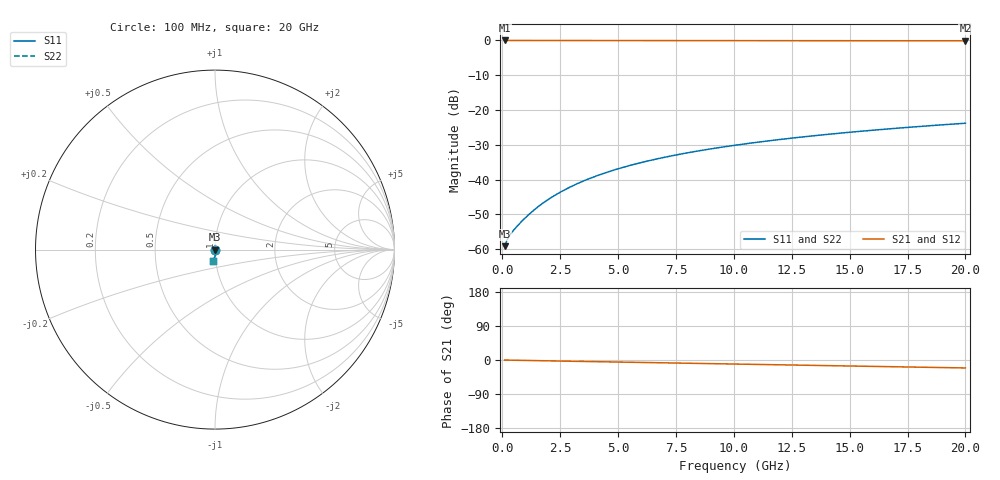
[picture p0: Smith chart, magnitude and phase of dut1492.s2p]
! Touchstone file exported from HFSS 2026.1.0
!  File:  C:/ffzhzh/LocalFiles/Ansys_Project_Files/temp_train_TMRDL_1492_1783167890_51560.aedt
!  Generated:  08:25:57 PM Jul  4, 2026
!  Design:  TMRDL
!  Project:  temp_train_TMRDL_1492_1783167890_51560
! Variables:
!  h_bsmrdl = 2um
!  h_ox = 20um
!  h_rdl = 5um
!  h_sub = 80um
!  h_tmrdl = 5.6um
!  h_tsv = 80um
!  h_via = 3um
!  l_bsmrdl = 300um
!  l_sub = 765.15um
!  l_tmrdl = 365.15um
!  m_sub = 200um
!  pitch = 31.72um
!  r_tsv = 6um
!  s_tmrdl = 10um
!  w_bsmrdl = 18um
!  w_sub = 500um
!  w_tmrdl = 27.97um
!  x_tsv_center1 = 379.135um
!  x_tsv_center2 = 697.135um
!  x_tsv_center3 = 1090.255um
!  x_tsv_center4 = 1408.255um
!  x_tsv_center5 = 1801.375um
!  x_tsv_center6 = 2119.375um
# GHz S MA R 50.000000
! Terminal data exported
! Port[1] = TM_RDL1_1_T1
! Port[2] = TM_RDL1_1_T2
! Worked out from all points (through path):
!   200 points, 100 MHz to 20 GHz, reference 50 ohm
!   highest |S21| = -0.01 dB at 100 MHz (marker M1); lowest = -0.1 dB at 20 GHz (marker M2)
!   group delay of S21, straight-line fit = 2.9 ps
!   lowest |S11| = -59.1 dB at 100 MHz (marker M3), VSWR 1.00, Z = 50.1 + j0.0109 ohm
!   |S11| at or under -10 dB: start of sweep to end of sweep
!   |S22| runs from -59.1 to -23.8 dB; largest |S21 - S12| = 1.8e-15
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0.1  0.001106 5.6  0.9989 -0.1  0.9989 -0.1  0.001106 5.6
! Gamma 0 0 0 0
! Port Impedance 50 0 50 0
0.2  0.001349 0.3  0.9987 -0.2  0.9987 -0.2  0.001349 0.3
0.3  0.001552 -8.3  0.9985 -0.4  0.9985 -0.4  0.001552 -8.3
0.4  0.001727 -16.4  0.9983 -0.5  0.9983 -0.5  0.001727 -16.4
0.6  0.002069 -29.4  0.9982 -0.7  0.9982 -0.7  0.002069 -29.4
0.9  0.002635 -42.3  0.998 -1.0  0.998 -1.0  0.002635 -42.3
1.1  0.003052 -48.1  0.9979 -1.2  0.9979 -1.2  0.003052 -48.1
1.4  0.003729 -54.2  0.9977 -1.6  0.9977 -1.6  0.003729 -54.2
1.9  0.004964 -60.6  0.9974 -2.1  0.9974 -2.1  0.004964 -60.6
2.4  0.006307 -64.7  0.997 -2.7  0.997 -2.7  0.006307 -64.7
2.9  0.007736 -67.6  0.9966 -3.2  0.9966 -3.2  0.007736 -67.6
3.5  0.009538 -70.3  0.9962 -3.8  0.9962 -3.8  0.009538 -70.3
4.2  0.01173 -73.0  0.9956 -4.6  0.9956 -4.6  0.01173 -73.0
5  0.0143 -75.6  0.9951 -5.4  0.9951 -5.4  0.0143 -75.6
5.9  0.01726 -78.2  0.9945 -6.4  0.9945 -6.4  0.01726 -78.2
6.8  0.02026 -80.4  0.9939 -7.3  0.9939 -7.3  0.02026 -80.4
8.3  0.02529 -83.7  0.9931 -8.9  0.9931 -8.9  0.02529 -83.7
10.1  0.03136 -87.2  0.9921 -10.7  0.9921 -10.7  0.03136 -87.2
11.7  0.03676 -89.9  0.9913 -12.4  0.9913 -12.4  0.03676 -89.9
13.4  0.04251 -92.5  0.9904 -14.2  0.9904 -14.2  0.04251 -92.5
16.7  0.05362 -97.2  0.9887 -17.6  0.9887 -17.6  0.05362 -97.2
20  0.06462 -101.5  0.987 -21.0  0.987 -21.0  0.06462 -101.5
